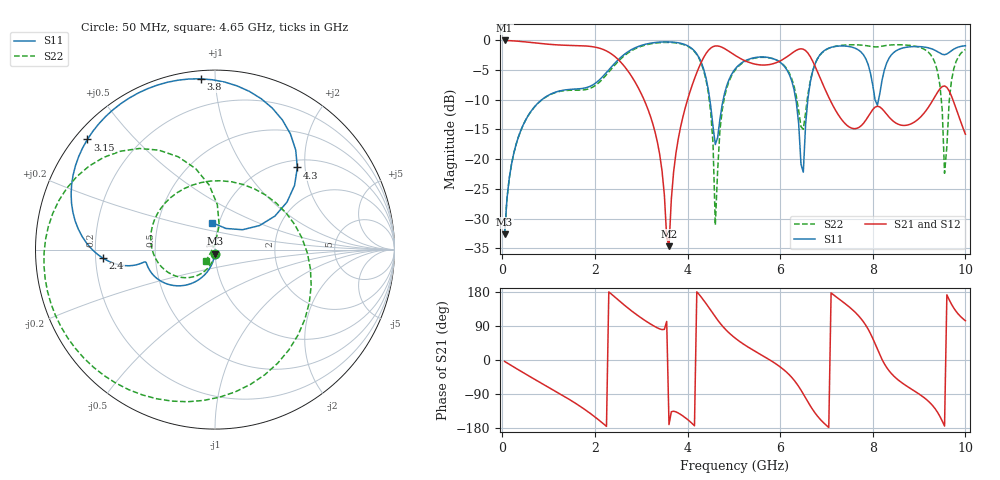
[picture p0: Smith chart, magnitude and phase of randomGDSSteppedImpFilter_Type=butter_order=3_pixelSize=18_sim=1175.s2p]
! freq	dB(S11)	phase(S11)	dB(S12)	phase(S12)
!  dB(S21)	phase(S21)	dB(S22)	phase(S22)
!S-par simulation data
#  GHz  S  DB  R 50
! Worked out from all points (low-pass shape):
!   200 points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, 50 MHz to 10 GHz, reference 50 ohm
!   highest |S21| = -0.01 dB at 50 MHz (marker M1); lowest = -34.7 dB at 3.6 GHz (marker M2)
!   |S21| within 3 dB of the highest: start of sweep to 2.473 GHz; 4.34 GHz to 5.133 GHz (793.3 MHz wide, 16.8 % of centre) (the widest 2 of 3)
!   lowest |S11| = -32.7 dB at 50 MHz (marker M3), VSWR 1.05, Z = 49.8 - j2.32 ohm
!   |S11| at or under -10 dB: start of sweep to 851.4 MHz; 4.481 GHz to 4.77 GHz (289.2 MHz wide, 6.25 % of centre); 6.339 GHz to 6.597 GHz (258.2 MHz wide, 3.99 % of centre) (the widest 3 of 4)
!   |S22| runs from -32.7 to -0.3 dB; largest |S21 - S12| = 0
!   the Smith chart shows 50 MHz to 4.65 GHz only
!   S11 on the Smith chart (normalised r, x): 50 MHz: 1.00, -0.05; 2.4 GHz: 0.23, -0.04; 3.15 GHz: 0.04, +0.37; 3.8 GHz: 0.04, +0.92; 4.3 GHz: 1.15, +1.82; 4.65 GHz: 0.92, +0.28
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0.05  -32.67 -92.9  -0.01 -3.8  -0.01 -3.8  -32.67 -94.0
0.5  -13.46 -121.9  -0.25 -36.8  -0.25 -36.8  -13.48 -132.7
1.75  -8.07 -170.0  -0.92 -127.9  -0.92 -127.9  -8.34 93.4
2.4  -4.09 -175.5  -2.52 169.2  -2.52 169.2  -4.40 -29.2
3.15  -0.54 139.2  -11.70 98.8  -11.70 98.8  -0.66 -126.5
3.4  -0.29 122.9  -19.25 81.9  -19.25 81.9  -0.38 -149.1
3.6  -0.25 109.4  -34.65 -170.4  -34.65 -170.4  -0.34 -166.1
3.8  -0.40 94.7  -16.57 -140.0  -16.57 -140.0  -0.48 176.7
4.3  -3.77 44.9  -3.62 165.4  -3.62 165.4  -3.93 119.4
4.6  -17.54 62.5  -0.94 113.8  -0.94 113.8  -31.11 89.7
4.65  -16.36 96.9  -0.93 105.5  -0.93 105.5  -21.94 -128.5
5.05  -4.61 95.0  -2.63 55.6  -2.63 55.6  -4.78 -170.0
6.15  -5.02 9.1  -2.75 -33.4  -2.75 -33.4  -4.86 113.9
6.5  -22.19 82.2  -1.48 -89.6  -1.48 -89.6  -14.97 152.1
6.7  -5.28 80.9  -3.46 -130.3  -3.46 -130.3  -5.19 172.0
7.3  -0.94 10.7  -13.04 158.3  -13.04 158.3  -0.86 121.5
7.85  -3.10 -59.0  -13.43 91.5  -13.43 91.5  -0.87 93.8
8.1  -10.93 161.6  -11.09 28.4  -11.09 28.4  -1.09 85.1
8.35  -3.01 43.1  -12.90 -28.2  -12.90 -28.2  -0.79 75.4
9.35  -1.69 -39.1  -9.37 -129.2  -9.37 -129.2  -3.91 4.6
9.55  -2.41 -41.6  -7.67 -174.3  -7.67 -174.3  -22.37 -19.2
10  -0.90 -57.3  -15.80 103.7  -15.80 103.7  -1.54 57.8
